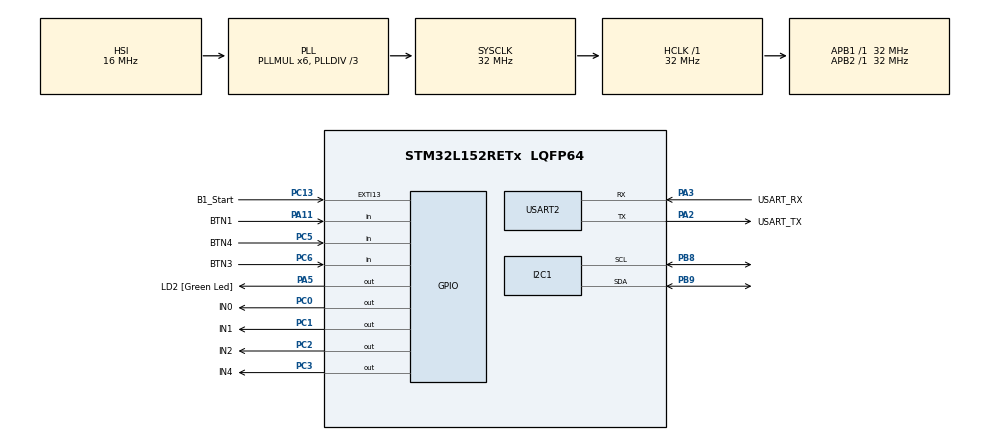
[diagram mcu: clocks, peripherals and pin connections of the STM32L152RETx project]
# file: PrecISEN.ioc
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Mcu.Family=STM32L1
Mcu.Name=STM32L152RETx
Mcu.Package=LQFP64
NVIC.EXTI15_10_IRQn=true\:2\:0\:true\:false\:true\:true\:true\:true
NVIC.PriorityGroup=NVIC_PRIORITYGROUP_4
NVIC.TIM3_IRQn=true\:0\:0\:false\:false\:true\:true\:true\:true
PA11.GPIO_Label=BTN1
PA11.GPIO_PuPd=GPIO_PULLUP
PA11.Signal=GPIO_Input
PA13.GPIO_Label=TMS
PA13.Mode=Serial_Wire
PA13.Signal=SYS_JTMS-SWDIO
PA14.GPIO_Label=TCK
PA14.Mode=Serial_Wire
PA14.Signal=SYS_JTCK-SWCLK
PA2.GPIO_Label=USART_TX
PA2.Mode=Asynchronous
PA2.Signal=USART2_TX
PA3.GPIO_Label=USART_RX
PA3.Mode=Asynchronous
PA3.Signal=USART2_RX
PA5.GPIO_Label=LD2 [Green Led]
PA5.Signal=GPIO_Output
PB3.GPIO_Label=SWO
PB3.Signal=SYS_JTDO-TRACESWO
PB8.Mode=I2C
PB8.Signal=I2C1_SCL
PB9.Mode=I2C
PB9.Signal=I2C1_SDA
PC0.GPIO_Label=IN0
PC0.Signal=GPIO_Output
PC1.GPIO_Label=IN1
PC1.Signal=GPIO_Output
PC13-WKUP2.GPIO_Label=B1_Start
PC13-WKUP2.GPIO_ModeDefaultEXTI=GPIO_MODE_IT_FALLING
PC13-WKUP2.Signal=GPXTI13
PC14-OSC32_IN.Mode=LSE-External-Oscillator
PC14-OSC32_IN.Signal=RCC_OSC32_IN
PC15-OSC32_OUT.Mode=LSE-External-Oscillator
PC15-OSC32_OUT.Signal=RCC_OSC32_OUT
PC2.GPIO_Label=IN2
PC2.Signal=GPIO_Output
PC3.GPIO_Label=IN4
PC3.Signal=GPIO_Output
PC5.GPIO_Label=BTN4
PC5.Signal=GPIO_Input
PC6.GPIO_Label=BTN3
PC6.Signal=GPIO_Input
PH0-OSC_IN.Mode=HSE-External-Clock-Source
PH0-OSC_IN.Signal=RCC_OSC_IN
PH1-OSC_OUT.Signal=RCC_OSC_OUT
ProjectManager.HeapSize=0x200
ProjectManager.StackSize=0x400
ProjectManager.TargetToolchain=STM32CubeIDE
RCC.48MHZClocksFreq_Value=48000000
RCC.AHBFreq_Value=32000000
RCC.APB1Freq_Value=32000000
RCC.APB1TimFreq_Value=32000000
RCC.APB2Freq_Value=32000000
RCC.APB2TimFreq_Value=32000000
RCC.HCLKFreq_Value=32000000
RCC.HSE_VALUE=8000000
RCC.HSI_VALUE=16000000
RCC.MSI_VALUE=2097000
RCC.PLLDIV=RCC_PLL_DIV3
RCC.PLLMUL=RCC_PLL_MUL6
RCC.RTCClockSelectionVirtual=RCC_RTCCLKSOURCE_LSE
RCC.SYSCLKFreq_VALUE=32000000
RCC.SYSCLKSource=RCC_SYSCLKSOURCE_PLLCLK
RCC.USBOutput=48000000
RCC.VCOOutputFreq_Value=96000000
TIM3.ClockDivision=TIM_CLOCKDIVISION_DIV4
USART2.VirtualMode=VM_ASYNC
VP_TIM3_VS_ClockSourceINT.Mode=Internal
board=NUCLEO-L152RE

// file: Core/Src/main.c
/* USER CODE BEGIN Header */
/**
 ******************************************************************************
 * @file           : main.c
 * @brief          : Main program body
 ******************************************************************************
 * @attention
 *
 * Copyright (c) 2024 STMicroelectronics.
 * All rights reserved.
 *
 * This software is licensed under terms that can be found in the LICENSE file
 * in the root directory of this software component.
 * If no LICENSE file comes with this software, it is provided AS-IS.
 *
 ******************************************************************************
 */
/* USER CODE END Header */
#include "main.h"

/* USER CODE BEGIN Includes */
#include "I2C_LCD.h"
#include <stdio.h>
#include "VL53L0X.h"
#include "STEPPER.h"
#include <math.h>
#include "stdlib.h"
/* USER CODE END Includes */

/* USER CODE BEGIN PTD */
#define MyI2C_LCD I2C_LCD_1
#define STEPPER_MOTOR1   0

/* USER CODE END PTD */

I2C_HandleTypeDef hi2c1;

TIM_HandleTypeDef htim3;

UART_HandleTypeDef huart2;

/* USER CODE BEGIN PV */
statInfo_t_VL53L0X distanceStr;
uint16_t distance=0;
uint16_t angle=0;
char str_distance[12];
char result_str[12];
char str_angle[12];
uint16_t distance_1=0;
uint16_t distance_2=0;
uint16_t angle_1=0;
uint16_t angle_2=0;
uint16_t meas1_Ok=0;
uint16_t meas2_Ok=0;
uint16_t distable=0;
uint16_t distance_n_1=0;
uint16_t distance_n_2=0;
uint16_t distance_n_3=0;
uint16_t result=0;
uint16_t angle_meas=0;
uint16_t NBStep=0;
double angle_meas_rad=0;

/* USER CODE END PV */

void SystemClock_Config(void);
static void MX_GPIO_Init(void);
static void MX_USART2_UART_Init(void);
static void MX_I2C1_Init(void);
static void MX_TIM3_Init(void);
/* USER CODE BEGIN PFP */
static void Scan(int sens,int stepNB, int delay);
double toRadians(double degrees);
void Start_measure(void);
void LCD_menu(void);
/* USER CODE END PFP */

int main(void)
{

  /* MCU Configuration--------------------------------------------------------*/

  /* Reset of all peripherals, Initializes the Flash interface and the Systick. */
  HAL_Init();

  /* Configure the system clock */
  SystemClock_Config();

  /* Initialize all configured peripherals */
  MX_GPIO_Init();
  MX_USART2_UART_Init();
  MX_I2C1_Init();
  MX_TIM3_Init();
  /* USER CODE BEGIN 2 */
  //Initialise le driver du motor.
  STEPPERS_Init_TMR(&htim3);
  // Initialise le LCD
  I2C_LCD_NoDisplay(MyI2C_LCD);
  I2C_LCD_Init(MyI2C_LCD);
  I2C_LCD_Display(MyI2C_LCD);
  I2C_LCD_Backlight(MyI2C_LCD);
  // Initialise the VL53L0X capteur TOF
  initVL53L0X(1, &hi2c1);
  // Configure the sensor for high accuracy and speed in 20 cm.
  setSignalRateLimit(200);
  setVcselPulsePeriod(VcselPeriodPreRange, 10);
  setVcselPulsePeriod(VcselPeriodFinalRange, 14);
  setMeasurementTimingBudget(300 * 1000UL);

  /* USER CODE END 2 */

  /* Infinite loop */
  /* USER CODE BEGIN WHILE */
	while (1) // Boucle infinie pour gérer le comportement principal
	{
	    // Configuration initiale de l'écran LCD pour afficher les options utilisateur
		LCD_menu();

	    // Vérification si BTN1 est pressé (démarrer la mesure sur 90°)
	    if(HAL_GPIO_ReadPin(BTN1_GPIO_Port, BTN1_Pin) == GPIO_PIN_RESET)
	    {
	    	Start_measure();
	    }

	    // Vérifie si BTN3 est pressé (déplacement manuel vers la gauche)
	    if(HAL_GPIO_ReadPin(BTN3_GPIO_Port, BTN3_Pin) == GPIO_PIN_RESET)
	    {
	        Scan(1, 20, 100); // 20 steps à droite delay 100ms
	    }

	    // Vérifie si BTN4 est pressé (déplacement manuel vers la droite)
	    if(HAL_GPIO_ReadPin(BTN4_GPIO_Port, BTN4_Pin) == GPIO_PIN_RESET)
	    {
	        Scan(0, 20, 100); // 20 steps à gauche delay 100ms
	    }

    /* USER CODE END WHILE */

	}
}

void SystemClock_Config(void)
{
  RCC_OscInitTypeDef RCC_OscInitStruct = {0};
  RCC_ClkInitTypeDef RCC_ClkInitStruct = {0};

  /** Configure the main internal regulator output voltage
  */
  __HAL_PWR_VOLTAGESCALING_CONFIG(PWR_REGULATOR_VOLTAGE_SCALE1);

  /** Initializes the RCC Oscillators according to the specified parameters
  * in the RCC_OscInitTypeDef structure.
  */
  RCC_OscInitStruct.OscillatorType = RCC_OSCILLATORTYPE_HSI;
  RCC_OscInitStruct.HSIState = RCC_HSI_ON;
  RCC_OscInitStruct.HSICalibrationValue = RCC_HSICALIBRATION_DEFAULT;
  RCC_OscInitStruct.PLL.PLLState = RCC_PLL_ON;
  RCC_OscInitStruct.PLL.PLLSource = RCC_PLLSOURCE_HSI;
  RCC_OscInitStruct.PLL.PLLMUL = RCC_PLL_MUL6;
  RCC_OscInitStruct.PLL.PLLDIV = RCC_PLL_DIV3;
  if (HAL_RCC_OscConfig(&RCC_OscInitStruct) != HAL_OK)
  {
    Error_Handler();
  }

  /** Initializes the CPU, AHB and APB buses clocks
  */
  RCC_ClkInitStruct.ClockType = RCC_CLOCKTYPE_HCLK|RCC_CLOCKTYPE_SYSCLK
                              |RCC_CLOCKTYPE_PCLK1|RCC_CLOCKTYPE_PCLK2;
  RCC_ClkInitStruct.SYSCLKSource = RCC_SYSCLKSOURCE_PLLCLK;
  RCC_ClkInitStruct.AHBCLKDivider = RCC_SYSCLK_DIV1;
  RCC_ClkInitStruct.APB1CLKDivider = RCC_HCLK_DIV1;
  RCC_ClkInitStruct.APB2CLKDivider = RCC_HCLK_DIV1;

  if (HAL_RCC_ClockConfig(&RCC_ClkInitStruct, FLASH_LATENCY_1) != HAL_OK)
  {
    Error_Handler();
  }
}

static void MX_I2C1_Init(void)
{

  hi2c1.Instance = I2C1;
  hi2c1.Init.ClockSpeed = 100000;
  hi2c1.Init.DutyCycle = I2C_DUTYCYCLE_2;
  hi2c1.Init.OwnAddress1 = 0;
  hi2c1.Init.AddressingMode = I2C_ADDRESSINGMODE_7BIT;
  hi2c1.Init.DualAddressMode = I2C_DUALADDRESS_DISABLE;
  hi2c1.Init.OwnAddress2 = 0;
  hi2c1.Init.GeneralCallMode = I2C_GENERALCALL_DISABLE;
  hi2c1.Init.NoStretchMode = I2C_NOSTRETCH_DISABLE;
  if (HAL_I2C_Init(&hi2c1) != HAL_OK)
  {
    Error_Handler();
  }

}

static void MX_TIM3_Init(void)
{

  TIM_ClockConfigTypeDef sClockSourceConfig = {0};
  TIM_MasterConfigTypeDef sMasterConfig = {0};

  htim3.Instance = TIM3;
  htim3.Init.Prescaler = 0;
  htim3.Init.CounterMode = TIM_COUNTERMODE_UP;
  htim3.Init.Period = 65535;
  htim3.Init.ClockDivision = TIM_CLOCKDIVISION_DIV4;
  htim3.Init.AutoReloadPreload = TIM_AUTORELOAD_PRELOAD_DISABLE;
  if (HAL_TIM_Base_Init(&htim3) != HAL_OK)
  {
    Error_Handler();
  }
  sClockSourceConfig.ClockSource = TIM_CLOCKSOURCE_INTERNAL;
  if (HAL_TIM_ConfigClockSource(&htim3, &sClockSourceConfig) != HAL_OK)
  {
    Error_Handler();
  }
  sMasterConfig.MasterOutputTrigger = TIM_TRGO_RESET;
  sMasterConfig.MasterSlaveMode = TIM_MASTERSLAVEMODE_DISABLE;
  if (HAL_TIMEx_MasterConfigSynchronization(&htim3, &sMasterConfig) != HAL_OK)
  {
    Error_Handler();
  }

}

static void MX_USART2_UART_Init(void)
{

  huart2.Instance = USART2;
  huart2.Init.BaudRate = 115200;
  huart2.Init.WordLength = UART_WORDLENGTH_8B;
  huart2.Init.StopBits = UART_STOPBITS_1;
  huart2.Init.Parity = UART_PARITY_NONE;
  huart2.Init.Mode = UART_MODE_TX_RX;
  huart2.Init.HwFlowCtl = UART_HWCONTROL_NONE;
  huart2.Init.OverSampling = UART_OVERSAMPLING_16;
  if (HAL_UART_Init(&huart2) != HAL_OK)
  {
    Error_Handler();
  }

}

static void MX_GPIO_Init(void)
{
  GPIO_InitTypeDef GPIO_InitStruct = {0};

  /* GPIO Ports Clock Enable */
  __HAL_RCC_GPIOC_CLK_ENABLE();
  __HAL_RCC_GPIOH_CLK_ENABLE();
  __HAL_RCC_GPIOA_CLK_ENABLE();
  __HAL_RCC_GPIOB_CLK_ENABLE();

  /*Configure GPIO pin Output Level */
  HAL_GPIO_WritePin(GPIOC, IN0_Pin|IN1_Pin|IN2_Pin|IN4_Pin, GPIO_PIN_RESET);

  /*Configure GPIO pin Output Level */
  HAL_GPIO_WritePin(LD2_GPIO_Port, LD2_Pin, GPIO_PIN_RESET);

  /*Configure GPIO pin : B1_Start_Pin */
  GPIO_InitStruct.Pin = B1_Start_Pin;
  GPIO_InitStruct.Mode = GPIO_MODE_IT_FALLING;
  GPIO_InitStruct.Pull = GPIO_NOPULL;
  HAL_GPIO_Init(B1_Start_GPIO_Port, &GPIO_InitStruct);

  /*Configure GPIO pins : IN0_Pin IN1_Pin IN2_Pin IN4_Pin */
  GPIO_InitStruct.Pin = IN0_Pin|IN1_Pin|IN2_Pin|IN4_Pin;
  GPIO_InitStruct.Mode = GPIO_MODE_OUTPUT_PP;
  GPIO_InitStruct.Pull = GPIO_NOPULL;
  GPIO_InitStruct.Speed = GPIO_SPEED_FREQ_LOW;
  HAL_GPIO_Init(GPIOC, &GPIO_InitStruct);

  /*Configure GPIO pin : LD2_Pin */
  GPIO_InitStruct.Pin = LD2_Pin;
  GPIO_InitStruct.Mode = GPIO_MODE_OUTPUT_PP;
  GPIO_InitStruct.Pull = GPIO_NOPULL;
  GPIO_InitStruct.Speed = GPIO_SPEED_FREQ_LOW;
  HAL_GPIO_Init(LD2_GPIO_Port, &GPIO_InitStruct);

  /*Configure GPIO pins : BTN4_Pin BTN3_Pin */
  GPIO_InitStruct.Pin = BTN4_Pin|BTN3_Pin;
  GPIO_InitStruct.Mode = GPIO_MODE_INPUT;
  GPIO_InitStruct.Pull = GPIO_NOPULL;
  HAL_GPIO_Init(GPIOC, &GPIO_InitStruct);

  /*Configure GPIO pin : BTN1_Pin */
  GPIO_InitStruct.Pin = BTN1_Pin;
  GPIO_InitStruct.Mode = GPIO_MODE_INPUT;
  GPIO_InitStruct.Pull = GPIO_PULLUP;
  HAL_GPIO_Init(BTN1_GPIO_Port, &GPIO_InitStruct);

  /* EXTI interrupt init*/
  HAL_NVIC_SetPriority(EXTI15_10_IRQn, 2, 0);
  HAL_NVIC_EnableIRQ(EXTI15_10_IRQn);

}

/* USER CODE BEGIN 4 */
int __io_putchar(int ch) // redirige le printf sur UART
{
	HAL_UART_Transmit(&huart2,(uint8_t*)&ch,1,0xFFFF);
	return ch;
}

void Scan(int sens, int stepNB, int delay)// fonction moteur pas à pas plus delay
{
	STEPPER_Step_NonBlocking(STEPPER_MOTOR1, stepNB, sens); //Dernier param : 0 == gauche, 1 == droite
	HAL_Delay(delay);
}
double toRadians(double degrees) // conversion degrees en radian
{
    return degrees * M_PI / 180.0; // M_PI est une constante pour π dans math.h
}
void HAL_TIM_PeriodElapsedCallback(TIM_HandleTypeDef* htim) //syncronise le moteur au timer
{
	STEPPER_TMR_OVF_ISR(htim);
}
void Start_measure(void)
{
    // Boucle pour scanner l'angle jusqu'à 90° (103 itérations)
    for (int i = 0; i <= 103; i++) // 205 pour 180° ; ici 103 = 90°
    {
        // Effectue un déplacement du moteur vers la droite de 5 pas
        Scan(1, 5, 5); // sens 0 = gauche, 1 = droite; stepNB = nombre d'étapes; delay = délai entre étapes (en ms) (5 pas = 1°)

        // Lecture de la distance via le capteur
        distance = readRangeSingleMillimeters(&distanceStr);

        // Conversion de la distance en chaîne pour affichage
        itoa(distance, str_distance, 10);

        // Affichage sur le terminal (via printf) des données mesurées
        printf("Distance: %d\n\r", distance);

        // Calcul de l'angle basé sur le nombre de pas effectués
        angle = i * 5 * 180 / 1024; // Calcul basé sur les pas moteur (2048 pas par tour)
        itoa(angle, str_angle, 10);
        printf("Angle: %d °\n\r", angle);

        // Détection de la première distance
        if ((distance < 200) && meas1_Ok != 1) // Condition : distance < 200 mm et non encore mesurée
        {
            if(abs(distance - distance_n_1) <= 5) // Vérifie si la distance est stable (±5 mm)
                distable++;

            if(distable == 4) // Si la distance est stable pendant 4 itérations
            {
                distance_1 = distance; // Enregistrement de la distance
                printf("Détection Distance1: %d\n\r", distance);
                angle_1 = angle; // Enregistrement de l'angle correspondant
                meas1_Ok = 1; // Première mesure validée
            }
        }

        // Détection de la deuxième distance
        if ((distance > distance_n_2 + 5) && meas2_Ok != 1 && meas1_Ok == 1) // Vérifie si une deuxième mesure est valide
        {
            distance_2 = distance_n_3; // Enregistrement de la deuxième distance
            printf("Détection Distance 2: %d\n\r", distance_n_3);
            angle_2 = angle - 3; // Enregistrement de l'angle correspondant
            meas2_Ok = 1; // Deuxième mesure validée
            NBStep = i; // Sauvegarde du nombre de boucles atteintes pour retour à 0 du moteur
            i = 104; // Stoppe la boucle for
        }

        // Mise à jour de l'affichage sur l'écran LCD
        I2C_LCD_Init(MyI2C_LCD);
        I2C_LCD_Display(MyI2C_LCD);
        I2C_LCD_Backlight(MyI2C_LCD);
        I2C_LCD_SetCursor(MyI2C_LCD, 0, 0);
        I2C_LCD_WriteString(MyI2C_LCD, "Distance= ");
        I2C_LCD_WriteString(MyI2C_LCD, str_distance); // Affichage de la distance
        I2C_LCD_WriteString(MyI2C_LCD, "mm");
        I2C_LCD_SetCursor(MyI2C_LCD, 0, 1);
        I2C_LCD_WriteString(MyI2C_LCD, "Angle= ");
        I2C_LCD_WriteString(MyI2C_LCD, str_angle); // Affichage de l'angle
        I2C_LCD_WriteString(MyI2C_LCD, "deg");

        // Mise à jour des variables de distance pour vérifier la stabilité
        distance_n_3 = distance_n_2; // sauvegarde de la mesure n-3
        distance_n_2 = distance_n_1; // sauvegarde de la mesure n-2
        distance_n_1 = distance;	 // sauvegarde de la mesure n-1
    }

    // Retourne le moteur à la position initiale
    Scan(0, NBStep * 5, 4000); // sens 0 = gauche, 1 = droite; stepNB = nombre de pas, delay

    // Réinitialise les variables pour la prochaine mesure
    meas1_Ok = 0;
    meas2_Ok = 0;
    distable = 0;
    distance_n_1 = 0;
    distance_n_2 = 0;
    distance_n_3 = 0;
    NBStep = 0;

    // Calcul des résultats à partir des distances mesurées
    printf("Distance1: %d\n\r", distance_1);
    printf("Distance2: %d\n\r", distance_2);
    printf("Angle1: %d\n\r", angle_1);
    printf("Angle2: %d\n\r", angle_2);

    // Calcul de l'angle entre les deux distances
    angle_meas = angle_2 - angle_1;
    printf("Anglemeas deg: %d\n\r", angle_meas);
    angle_meas_rad = toRadians((double)angle_meas); // Conversion en radians
    printf("Anglemeas rad: %f\n\r", angle_meas_rad);

    // Calcul de la mesure finale (loi des cosinus) a²=b²+c²-2bc x cos(A)
    result = sqrt(pow((double)distance_1, 2) + pow((double)distance_2, 2) - 2 * distance_1 * distance_2 * cos(angle_meas_rad));
    printf("Measure: %d\n\r", result);

    // Affichage du résultat final sur le LCD pendant 10 secondes
    itoa(result, result_str, 10);
    I2C_LCD_SetCursor(MyI2C_LCD, 0, 1);
    I2C_LCD_WriteString(MyI2C_LCD, "                "); // Efface la ligne
    I2C_LCD_SetCursor(MyI2C_LCD, 0, 0);
    I2C_LCD_WriteString(MyI2C_LCD, "Measure = ");
    I2C_LCD_WriteString(MyI2C_LCD, result_str); // Affichage de la mesure finale
    I2C_LCD_WriteString(MyI2C_LCD, "mm");
    HAL_Delay(10000); // Pause avant de redémarrer
}
void LCD_menu(void)
{
    I2C_LCD_SetCursor(MyI2C_LCD, 0, 0);
    I2C_LCD_WriteString(MyI2C_LCD, "BT1 = START     ");
    I2C_LCD_SetCursor(MyI2C_LCD, 0, 1);
    I2C_LCD_WriteString(MyI2C_LCD, "BT3 = L BT4 = R ");
}

/* USER CODE END 4 */

void Error_Handler(void)
{
	__disable_irq();
	while (1)
	{
	}
}
